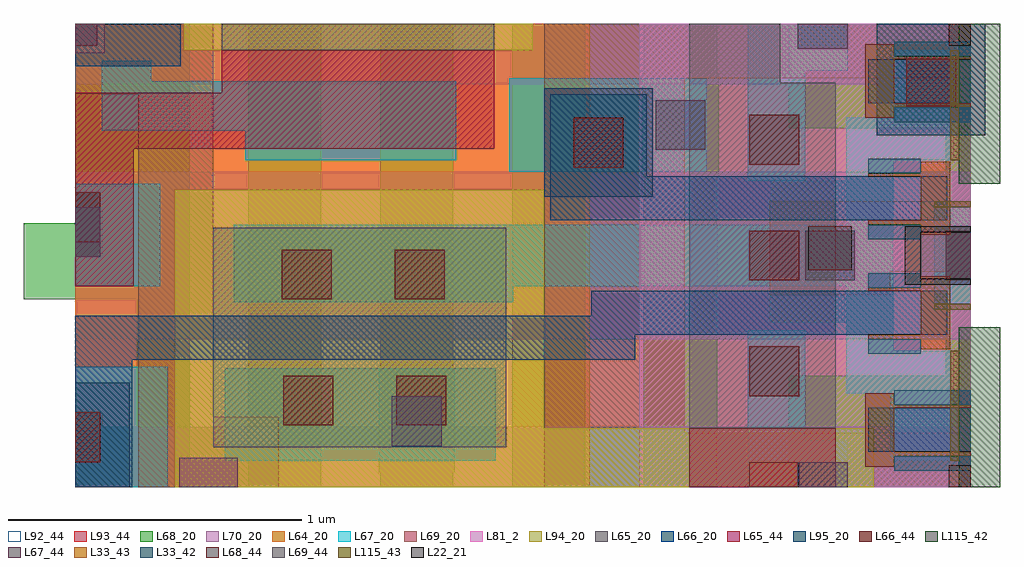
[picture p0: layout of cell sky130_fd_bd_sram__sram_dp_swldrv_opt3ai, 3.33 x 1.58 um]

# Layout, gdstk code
from math import pi, radians
import gdstk
lib = gdstk.Library(unit=1e-6, precision=1e-09)
def R(c, l, rs):  # rectangles x0, y0, x1, y1
    for r in rs: c.add(gdstk.rectangle(r[:2], r[2:], *l))
def A(c, l, x, y, w, h, nx, ny, dx, dy):  # array of equal rectangles
    R(c, l, [(x+i*dx, y+j*dy, x+i*dx+w, y+j*dy+h) for i in range(nx) for j in range(ny)])
def P(c, l, *ps):  # polygons
    for p in ps: c.add(gdstk.Polygon(p, *l))
L22_21 = (22, 21)
L33_42 = (33, 42)
L33_43 = (33, 43)
L64_20 = (64, 20)
L65_20 = (65, 20)
L65_44 = (65, 44)
L66_20 = (66, 20)
L66_44 = (66, 44)
L67_20 = (67, 20)
L67_44 = (67, 44)
L68_20 = (68, 20)
L68_44 = (68, 44)
L69_20 = (69, 20)
L69_44 = (69, 44)
L70_20 = (70, 20)
L81_2 = (81, 2)
L92_44 = (92, 44)
L93_44 = (93, 44)
L94_20 = (94, 20)
L95_20 = (95, 20)
L115_42 = (115, 42)
L115_43 = (115, 43)

sky130_fd_bd_sram__sram_ = lib.new_cell('sky130_fd_bd_sram__sram_dp_cell_poly_srf_opta')
R(sky130_fd_bd_sram__sram_, L33_43, [(-0.1,-0.2,0,0.05)])

c_sky130_fd_bd_sram__sram_ = lib.new_cell('sky130_fd_bd_sram__sram_dp_swldrv_p1m_ser')
c_sky130_fd_bd_sram__sram_.add(gdstk.Reference(sky130_fd_bd_sram__sram_, (-0.26,1.46)))
c_sky130_fd_bd_sram__sram_.add(gdstk.Reference(sky130_fd_bd_sram__sram_, (-0.26,0.27)))
c_sky130_fd_bd_sram__sram_.add(gdstk.Reference(sky130_fd_bd_sram__sram_, (-0.17,0.67), rotation=pi, x_reflection=True))
c_sky130_fd_bd_sram__sram_.add(gdstk.Reference(sky130_fd_bd_sram__sram_, (-0.17,1.06), rotation=pi, x_reflection=True))

c_sky130_fd_bd_sram__sram__ = lib.new_cell('sky130_fd_bd_sram__sram_dp_swldrv_fom_drop')

c_sky130_fd_bd_sram__sram___ = lib.new_cell('sky130_fd_bd_sram__sram_dp_swldrv_coreid')
R(c_sky130_fd_bd_sram__sram___, L81_2, [(0,0,1.13,1.58)])

c_sky130_fd_bd_sram__sram____ = lib.new_cell('sky130_fd_bd_sram__sram_dp_swldrv_p1lic')
R(c_sky130_fd_bd_sram__sram____, L66_44, [(-0.22,0.11,-0.05,0.28)])
R(c_sky130_fd_bd_sram__sram____, L95_20, [(-0.32,0,0.05,0.38)])

c_sky130_fd_bd_sram__sram_____ = lib.new_cell('sky130_fd_bd_sram__sram_dp_licon_05')
R(c_sky130_fd_bd_sram__sram_____, L66_44, [(-0.085,0,0.085,0.085)])

c_sky130_fd_bd_sram__sram______ = lib.new_cell('sky130_fd_bd_sram__sram_dp_mcon_05')
R(c_sky130_fd_bd_sram__sram______, L67_44, [(-0.085,0,0.085,0.085)])

c_sky130_fd_bd_sram__sram_______ = lib.new_cell('sky130_fd_bd_sram__sram_dp_swldrv_tap_b')
R(c_sky130_fd_bd_sram__sram_______, L65_20, [(2.095,-0.2,2.405,0), (0.5,-0.09,1.43,0)])
R(c_sky130_fd_bd_sram__sram_______, L65_44, [(0,-0.895,0.2,-0.425)])
P(c_sky130_fd_bd_sram__sram_______, L65_44, [(0,-0.425),(0,-0.235),(0.5,-0.235),(0.5,-0.09),(1.43,-0.09),(1.43,-0.425)])
R(c_sky130_fd_bd_sram__sram_______, L67_20, [(0,-0.895,0.29,-0.545)])
P(c_sky130_fd_bd_sram__sram_______, L67_20, [(0.58,-0.465),(0.58,-0.365),(0.09,-0.365),(0.09,-0.125),(0.26,-0.125),(0.26,-0.195),(1.3,-0.195),(1.3,-0.465)])
R(c_sky130_fd_bd_sram__sram_______, L93_44, [(1.965,-0.2,2.725,0), (1.56,-0.09,1.6,0)])
P(c_sky130_fd_bd_sram__sram_______, L93_44, [(0,-0.565),(0,0),(0.37,0),(0.37,-0.09),(1.6,-0.09),(1.6,-0.565)])
R(c_sky130_fd_bd_sram__sram_______, L94_20, [(0.37,-0.09,1.56,0)])
R(c_sky130_fd_bd_sram__sram_______, L95_20, [(0,-0.145,0.36,0)])
c_sky130_fd_bd_sram__sram_______.add(gdstk.Reference(c_sky130_fd_bd_sram__sram_____, (0,-0.66), rotation=3*pi/2))
c_sky130_fd_bd_sram__sram_______.add(gdstk.Reference(c_sky130_fd_bd_sram__sram______, (0,-0.71), rotation=3*pi/2))

c_sky130_fd_bd_sram__sram________ = lib.new_cell('sky130_fd_bd_sram__sram_dp_swldrv_mcon')
R(c_sky130_fd_bd_sram__sram________, L67_44, [(0,0.07,0.17,0.24), (0.9,1.08,1.07,1.25)])
R(c_sky130_fd_bd_sram__sram________, L68_20, [(-0.045,-0.02,0.215,0.33), (0.855,0.99,1.115,1.34)])

c_sky130_fd_bd_sram__sram_________ = lib.new_cell('sky130_fd_bd_sram__sram_dp_licon_1')
c_sky130_fd_bd_sram__sram_________.add(gdstk.Reference(c_sky130_fd_bd_sram__sram_____, (0,0)))
c_sky130_fd_bd_sram__sram_________.add(gdstk.Reference(c_sky130_fd_bd_sram__sram_____, (0,0), x_reflection=True))

c_sky130_fd_bd_sram__sram__________ = lib.new_cell('sky130_fd_bd_sram__sram_dp_swldrv_base')
R(c_sky130_fd_bd_sram__sram__________, L22_21, [(-0.225,0.69,-0.17,0.89), (-0.17,0.69,0,0.71), (-0.17,0.87,0,0.89)])
R(c_sky130_fd_bd_sram__sram__________, L64_20, [(-3.055,0,-1.3,1.58)])
R(c_sky130_fd_bd_sram__sram__________, L65_20, [(-2.585,0.135,-1.585,0.885), (-0.96,0.2,-0.46,1.38), (-0.17,0.71,0,0.87)])
R(c_sky130_fd_bd_sram__sram__________, L65_44, [(-0.96,0,-0.46,0.2)])
R(c_sky130_fd_bd_sram__sram__________, L66_20, [(-3.055,0,-2.86,0.585), (-0.35,0.12,0,0.27), (-0.35,0.12,0,0.27), (-0.35,1.31,0,1.46), (-0.35,1.31,0,1.46)])
P(c_sky130_fd_bd_sram__sram__________, L66_20, [(-1.435,0.91),(-1.435,1.34),(-1.105,1.34),(-1.105,1.06),(-0.08,1.06),(-0.08,0.91)],
  [(-2.86,0.435),(-2.86,0.585),(-1.295,0.585),(-1.295,0.67),(-0.08,0.67),(-0.08,0.52),(-1.145,0.52),(-1.145,0.435)])
A(c_sky130_fd_bd_sram__sram__________, L66_44, -0.755, 0.31, 0.17, 0.17, 1, 3, 0, 0.395)
R(c_sky130_fd_bd_sram__sram__________, L66_44, [(-0.755,0,-0.585,0.085), (-0.085,0.705,0,0.875), (-1.355,1.09,-1.185,1.26)])
R(c_sky130_fd_bd_sram__sram__________, L67_20, [(-3.055,0,-2.74,0.41), (-2.545,0.09,-1.62,0.405), (-0.125,0.625,0,0.955), (-1.575,1.075,-0.9,1.395)])
P(c_sky130_fd_bd_sram__sram__________, L67_20, [(-2.515,0.63),(-2.515,0.895),(-0.265,0.895),(-0.265,0.685),(-1.56,0.685),(-1.56,0.63)],
  [(-0.76,1.045),(-0.76,1.58),(-0.42,1.58),(-0.42,1.42),(-0.565,1.42),(-0.565,1.045)],
  [(-0.275,0.09),(-0.275,0.32),(-0.425,0.32),(-0.425,0.895),(-0.265,0.895),(-0.265,0.465),(-0.07,0.465),(-0.07,0.09)],
  [(-0.425,0.685),(-0.425,1.26),(-0.275,1.26),(-0.275,1.49),(-0.07,1.49),(-0.07,1.115),(-0.265,1.115),(-0.265,0.685)],
  [(-0.76,0),(-0.76,0.535),(-0.565,0.535),(-0.565,0.16),(-0.42,0.16),(-0.42,0)])
R(c_sky130_fd_bd_sram__sram__________, L67_44, [(-0.59,0,-0.42,0.085), (-0.565,0.705,-0.395,0.875), (-0.085,0.705,0,0.875), (-0.59,1.495,-0.42,1.58)])
A(c_sky130_fd_bd_sram__sram__________, L68_20, -2.465, 0, 0.25, 1.58, 4, 1, 0.45, 0)
P(c_sky130_fd_bd_sram__sram__________, L68_20, [(-0.62,0),(-0.62,0.38),(-0.085,0.38),(-0.085,1.225),(-0.62,1.225),(-0.62,1.58),(0,1.58),(0,0)],
  [(-0.685,0.56),(-0.685,0.98),(-0.68,0.98),(-0.68,1.045),(-0.265,1.045),(-0.265,0.56)])
R(c_sky130_fd_bd_sram__sram__________, L92_44, [(-3.055,0,0,1.58)])
R(c_sky130_fd_bd_sram__sram__________, L93_44, [(-3.055,0,-2.715,1.015), (-1.455,0.2,-1.09,0.91), (-1.455,0.91,-1.09,1.58)])
P(c_sky130_fd_bd_sram__sram__________, L93_44, [(-0.33,0),(-0.33,0.2),(-1.09,0.2),(-1.09,1.38),(-0.33,1.38),(-0.33,1.58),(0,1.58),(0,0)])
R(c_sky130_fd_bd_sram__sram__________, L94_20, [(-1.35,0,-0.33,0.2)])
P(c_sky130_fd_bd_sram__sram__________, L94_20, [(-2.715,0),(-2.715,1.015),(-1.455,1.015),(-1.455,0.2),(-1.09,0.2),(-1.09,0)])
R(c_sky130_fd_bd_sram__sram__________, L95_20, [(-3.055,0,-2.87,0.355), (-1.455,0.99,-1.085,1.36)])
R(c_sky130_fd_bd_sram__sram__________, L115_42, [(-0.04,0,0.1,0.545), (-0.04,1.035,0.1,1.58)])
R(c_sky130_fd_bd_sram__sram__________, L115_43, [(-0.07,0.09,-0.04,0.465), (-0.125,0.605,0,0.625), (-0.125,0.955,0,0.975), (-0.07,1.115,-0.04,1.49)])
c_sky130_fd_bd_sram__sram__________.add(gdstk.Reference(c_sky130_fd_bd_sram__sram_________, (-2.26,0.295)))
c_sky130_fd_bd_sram__sram__________.add(gdstk.Reference(c_sky130_fd_bd_sram__sram_________, (-1.875,0.295)))
c_sky130_fd_bd_sram__sram__________.add(gdstk.Reference(c_sky130_fd_bd_sram__sram_________, (-1.88,0.725)))
c_sky130_fd_bd_sram__sram__________.add(gdstk.Reference(c_sky130_fd_bd_sram__sram_________, (-2.265,0.725)))
c_sky130_fd_bd_sram__sram__________.add(gdstk.Reference(c_sky130_fd_bd_sram__sram_____, (-3.055,0.17), rotation=3*pi/2))

c_sky130_fd_bd_sram__sram___________ = lib.new_cell('sky130_fd_bd_sram__sram_dp_swldrv_opt1_poly_siz_opta')
R(c_sky130_fd_bd_sram__sram___________, L33_42, [(0,0.01,0.26,0.06)])
R(c_sky130_fd_bd_sram__sram___________, L33_43, [(0,0,0.26,0.01)])

c_sky130_fd_bd_sram__sram____________ = lib.new_cell('sky130_fd_bd_sram__sram_dp_swldrv_opt1_poly_siz_optc')
R(c_sky130_fd_bd_sram__sram____________, L33_42, [(-0.18,0.01,0,0.06)])
R(c_sky130_fd_bd_sram__sram____________, L33_43, [(-0.18,0,0,0.01)])

c_sky130_fd_bd_sram__sram_____________ = lib.new_cell('sky130_fd_bd_sram__sram_dp_swldrv_opt1_poly_siz_optb')
R(c_sky130_fd_bd_sram__sram_____________, L33_42, [(0,-0.065,0.26,-0.015)])
R(c_sky130_fd_bd_sram__sram_____________, L33_43, [(0,-0.015,0.26,0)])

c_sky130_fd_bd_sram__sram______________ = lib.new_cell('sky130_fd_bd_sram__sram_dp_swldrv_opt1_poly_siz_optd')
R(c_sky130_fd_bd_sram__sram______________, L33_42, [(-0.18,-0.065,0,-0.015)])
R(c_sky130_fd_bd_sram__sram______________, L33_43, [(-0.18,-0.015,0,0)])

c_sky130_fd_bd_sram__sram_______________ = lib.new_cell('sky130_fd_bd_sram__sram_dp_swldrv_p1m_siz')
c_sky130_fd_bd_sram__sram_______________.add(gdstk.Reference(c_sky130_fd_bd_sram__sram___________, (-0.26,0.27)))
c_sky130_fd_bd_sram__sram_______________.add(gdstk.Reference(c_sky130_fd_bd_sram__sram___________, (-0.26,1.46)))
c_sky130_fd_bd_sram__sram_______________.add(gdstk.Reference(c_sky130_fd_bd_sram__sram____________, (-0.17,1.06)))
c_sky130_fd_bd_sram__sram_______________.add(gdstk.Reference(c_sky130_fd_bd_sram__sram____________, (-0.17,0.67)))
c_sky130_fd_bd_sram__sram_______________.add(gdstk.Reference(c_sky130_fd_bd_sram__sram_____________, (-0.26,0.12)))
c_sky130_fd_bd_sram__sram_______________.add(gdstk.Reference(c_sky130_fd_bd_sram__sram_____________, (-0.26,1.31)))
c_sky130_fd_bd_sram__sram_______________.add(gdstk.Reference(c_sky130_fd_bd_sram__sram______________, (-0.17,0.91)))
c_sky130_fd_bd_sram__sram_______________.add(gdstk.Reference(c_sky130_fd_bd_sram__sram______________, (-0.17,0.52)))

c_sky130_fd_bd_sram__sram________________ = lib.new_cell('sky130_fd_bd_sram__sram_dp_swldrv_strap1')
P(c_sky130_fd_bd_sram__sram________________, L68_20, [(0.21,0),(0.21,0.64),(-0.175,0.64),(-0.175,0.9),(0,0.9),(0,1.58),(0.39,1.58),(0.39,0)])

c_sky130_fd_bd_sram__sram_________________ = lib.new_cell('sky130_fd_bd_sram__sram_dp_swldrv_met2_lwl')
R(c_sky130_fd_bd_sram__sram_________________, L68_44, [(-0.555,0.69,-0.405,0.84)])
P(c_sky130_fd_bd_sram__sram_________________, L69_20, [(-0.685,0.605),(-0.685,0.925),(-0.275,0.925),(-0.275,0.845),(0,0.845),(0,0.605)])

c_sky130_fd_bd_sram__sram__________________ = lib.new_cell('sky130_fd_bd_sram__sram_dp_swldrv_met23_1a')
R(c_sky130_fd_bd_sram__sram__________________, L68_44, [(-0.075,0,0,0.075), (-3.055,1.505,-2.98,1.58), (-0.075,1.505,0,1.58)])
R(c_sky130_fd_bd_sram__sram__________________, L69_20, [(-2.84,0,-2.36,0.24), (-2.84,0.24,-2.585,1.34), (-3.055,1.34,-2.585,1.58)])
P(c_sky130_fd_bd_sram__sram__________________, L69_20, [(-1.455,0),(-1.455,1.58),(0,1.58),(0,1.395),(-0.975,1.395),(-0.975,0.185),(0,0.185),(0,0)])
R(c_sky130_fd_bd_sram__sram__________________, L69_44, [(-2.7,0,-2.5,0.1), (-3.055,1.48,-2.955,1.58)])
R(c_sky130_fd_bd_sram__sram__________________, L70_20, [(-3.055,0,0,0.205), (-3.055,0.505,0,1.075), (-3.055,1.375,0,1.58)])

c_sky130_fd_bd_sram__sram___________________ = lib.new_cell('sky130_fd_bd_sram__sram_dp_swldrv_opt3ai')
c_sky130_fd_bd_sram__sram___________________.add(gdstk.Reference(c_sky130_fd_bd_sram__sram_, (3.055,0)))
c_sky130_fd_bd_sram__sram___________________.add(gdstk.Reference(c_sky130_fd_bd_sram__sram__, (3.055,1.58), rotation=pi))
c_sky130_fd_bd_sram__sram___________________.add(gdstk.Reference(c_sky130_fd_bd_sram__sram___, (1.925,0)))
c_sky130_fd_bd_sram__sram___________________.add(gdstk.Reference(c_sky130_fd_bd_sram__sram____, (3.055,1.58), x_reflection=True))
c_sky130_fd_bd_sram__sram___________________.add(gdstk.Reference(c_sky130_fd_bd_sram__sram_______, (0,1.58)))
c_sky130_fd_bd_sram__sram___________________.add(gdstk.Reference(c_sky130_fd_bd_sram__sram________, (1.08,0.07)))
c_sky130_fd_bd_sram__sram___________________.add(gdstk.Reference(c_sky130_fd_bd_sram__sram__________, (3.055,0)))
c_sky130_fd_bd_sram__sram___________________.add(gdstk.Reference(c_sky130_fd_bd_sram__sram_______________, (3.055,0)))
c_sky130_fd_bd_sram__sram___________________.add(gdstk.Reference(c_sky130_fd_bd_sram__sram________________, (0,0)))
c_sky130_fd_bd_sram__sram___________________.add(gdstk.Reference(c_sky130_fd_bd_sram__sram_________________, (3.055,1.58), x_reflection=True))
c_sky130_fd_bd_sram__sram___________________.add(gdstk.Reference(c_sky130_fd_bd_sram__sram__________________, (3.055,0)))

lib.write_gds('sky130_fd_bd_sram__sram_dp_swldrv_opt3ai.gds')
